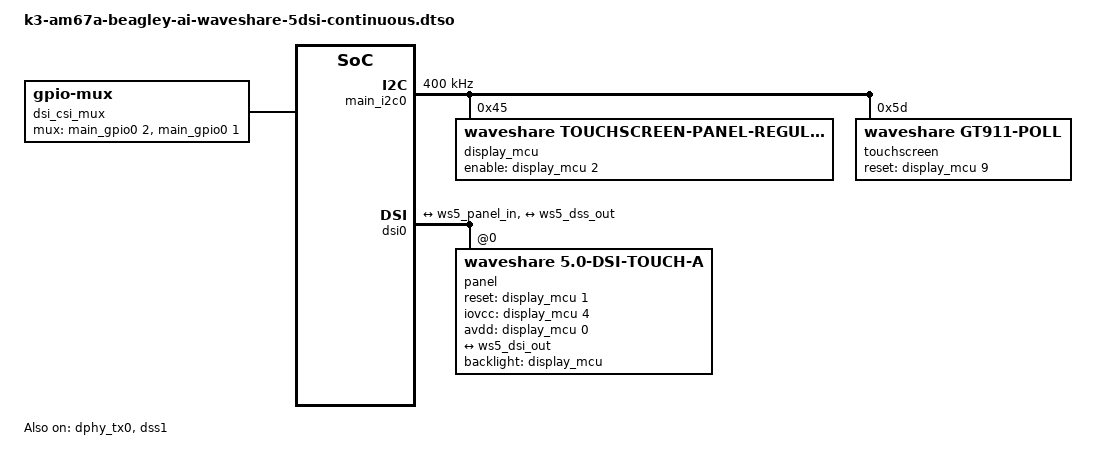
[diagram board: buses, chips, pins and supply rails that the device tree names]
// SPDX-License-Identifier: GPL-2.0-only OR MIT
/* Waveshare 5-DSI-TOUCH-A on BeagleY-AI, continuous-clock profile. */
/dts-v1/;
/plugin/;

#include <dt-bindings/gpio/gpio.h>
#include "k3-pinctrl.h"

&{/} {
	dsi_csi_mux: mux-controller {
		compatible = "gpio-mux";
		#mux-state-cells = <1>;
		pinctrl-names = "default";
		pinctrl-0 = <&dsi_csi_mux_pins_default>;
		mux-gpios = <&main_gpio0 2 GPIO_ACTIVE_HIGH>,
			    <&main_gpio0 1 GPIO_ACTIVE_HIGH>;
		/* state = SEL + 2*OE: 0 = DSI0, 1 = CSI1, 2/3 = off */
		idle-state = <0>;
	};
};

&main_pmx0 {
	dsi_csi_mux_pins_default: dsi-csi-mux-default-pins {
		pinctrl-single,pins = <
			J722S_IOPAD(0x0004, PIN_OUTPUT, 7) /* OSPI0_LBCLKO.GPIO0_1 */
			J722S_IOPAD(0x0008, PIN_OUTPUT, 7) /* OSPI0_DQS.GPIO0_2 */
		>;
	};
};

&main_gpio0 { status = "okay"; };

&main_i2c0 {
	pinctrl-names = "default";
	pinctrl-0 = <&main_i2c0_pins_default>;
	clock-frequency = <400000>;
	status = "okay";
	#address-cells = <1>;
	#size-cells = <0>;

	display_mcu: display-controller@45 {
		compatible = "waveshare,touchscreen-panel-regulator";
		reg = <0x45>;
		gpio-controller;
		#gpio-cells = <2>;
		enable-gpios = <&display_mcu 2 GPIO_ACTIVE_HIGH>;
	};

	touchscreen@5d {
		compatible = "waveshare,gt911-poll";
		reg = <0x5d>;
		reset-gpios = <&display_mcu 9 GPIO_ACTIVE_HIGH>;
		touchscreen-size-x = <720>;
		touchscreen-size-y = <1280>;
		poll-interval-ms = <16>;
	};
};

&dphy_tx0 { status = "okay"; };
&dss1 { status = "okay"; };

&dss1_ports {
	#address-cells = <1>;
	#size-cells = <0>;
	port@1 {
		reg = <1>;
		ws5_dss_out: endpoint { remote-endpoint = <&ws5_dsi_in>; };
	};
};

&dsi0 {
	status = "okay";
	#address-cells = <1>;
	#size-cells = <0>;
	ports {
		#address-cells = <1>;
		#size-cells = <0>;
		port@0 {
			reg = <0>;
			ws5_dsi_out: endpoint { remote-endpoint = <&ws5_panel_in>; };
		};
		port@1 {
			reg = <1>;
			ws5_dsi_in: endpoint { remote-endpoint = <&ws5_dss_out>; };
		};
	};
	panel@0 {
		compatible = "waveshare,5.0-dsi-touch-a";
		reg = <0>;
		reset-gpios = <&display_mcu 1 GPIO_ACTIVE_HIGH>;
		iovcc-gpios = <&display_mcu 4 GPIO_ACTIVE_HIGH>;
		avdd-gpios = <&display_mcu 0 GPIO_ACTIVE_HIGH>;
		backlight = <&display_mcu>;
		rotation = <0>;
		waveshare,video-sync-pulse;
		waveshare,continuous-clock;
		port {
			ws5_panel_in: endpoint { remote-endpoint = <&ws5_dsi_out>; };
		};
	};
};
